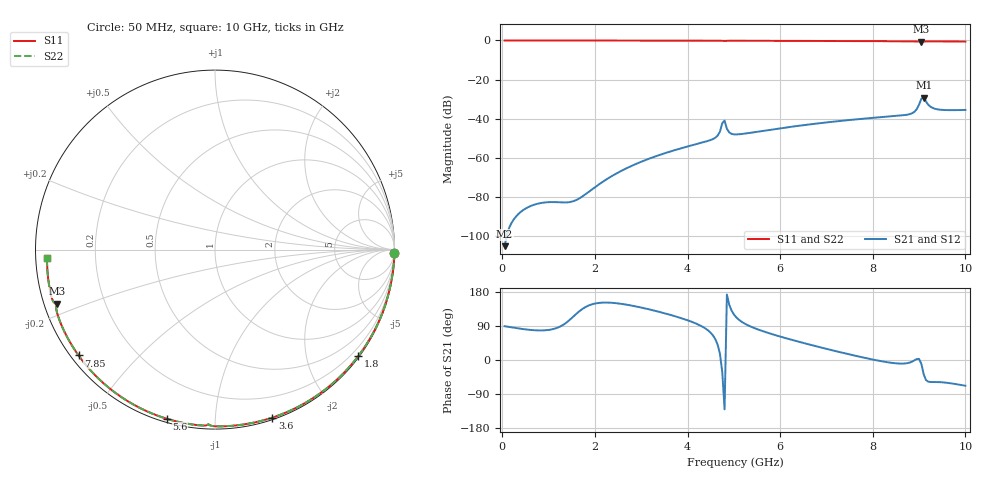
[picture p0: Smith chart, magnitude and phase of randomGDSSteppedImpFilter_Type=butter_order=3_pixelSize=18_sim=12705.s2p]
! freq	dB(S11)	phase(S11)	dB(S12)	phase(S12)
!  dB(S21)	phase(S21)	dB(S22)	phase(S22)
!S-par simulation data
#  GHz  S  DB  R 50
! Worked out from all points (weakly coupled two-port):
!   200 points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, 50 MHz to 10 GHz, reference 50 ohm
!   highest |S21| = -29.28 dB at 9.1 GHz (marker M1); lowest = -105.1 dB at 50 MHz (marker M2)
!   lowest |S11| = -0.6 dB at 9.05 GHz (marker M3), VSWR 26.92, Z = 1.91 - j8.33 ohm
!   |S11| at or under -10 dB: nowhere
!   |S22| runs from -0.6 to 0.0 dB; largest |S21 - S12| = 0
!   S11 on the Smith chart (normalised r, x): 50 MHz: open; 1.8 GHz: 0.03, -3.01; 3.6 GHz: 0.02, -1.40; 5.6 GHz: 0.02, -0.76; 7.85 GHz: 0.02, -0.34; 10 GHz: 0.03, -0.03
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0.05  -0.00 -1.0  -105.08 89.1  -105.08 89.1  -0.00 -1.0
1.75  -0.05 -35.7  -79.34 136.3  -79.34 136.3  -0.05 -35.7
1.8  -0.05 -36.7  -78.50 139.9  -78.50 139.9  -0.05 -36.7
2.55  -0.07 -51.4  -66.87 148.5  -66.87 148.5  -0.07 -51.4
3.4  -0.09 -67.4  -58.46 126.7  -58.46 126.7  -0.09 -67.5
3.6  -0.09 -71.1  -56.92 120.1  -56.92 120.1  -0.09 -71.1
4.6  -0.13 -89.1  -49.69 55.0  -49.69 55.0  -0.13 -89.1
4.7  -0.15 -91.0  -46.57 16.4  -46.57 16.4  -0.15 -91.0
4.8  -0.23 -92.1  -40.96 -130.2  -40.96 -130.2  -0.23 -92.1
4.9  -0.15 -93.9  -46.99 146.2  -46.99 146.2  -0.15 -93.9
5.05  -0.15 -96.6  -48.01 113.0  -48.01 113.0  -0.15 -96.6
5.6  -0.17 -105.9  -46.28 77.1  -46.28 77.1  -0.18 -105.9
6.7  -0.24 -123.9  -42.70 38.7  -42.70 38.7  -0.24 -123.9
7.85  -0.33 -142.2  -39.85 5.1  -39.85 5.1  -0.33 -142.3
8.35  -0.39 -150.2  -38.86 -6.5  -38.86 -6.5  -0.39 -150.3
8.85  -0.47 -158.4  -37.18 -4.3  -37.18 -4.3  -0.47 -158.4
8.95  -0.52 -160.1  -35.10 2.5  -35.10 2.5  -0.52 -160.1
9.05  -0.65 -161.1  -29.73 -10.5  -29.73 -10.5  -0.64 -161.1
9.1  -0.56 -161.1  -29.28 -38.0  -29.28 -38.0  -0.56 -161.2
9.2  -0.46 -163.2  -32.89 -57.2  -32.89 -57.2  -0.46 -163.3
9.35  -0.47 -165.9  -34.94 -58.0  -34.94 -58.0  -0.47 -166.0
10  -0.56 -177.0  -35.48 -68.0  -35.48 -68.0  -0.56 -177.1
